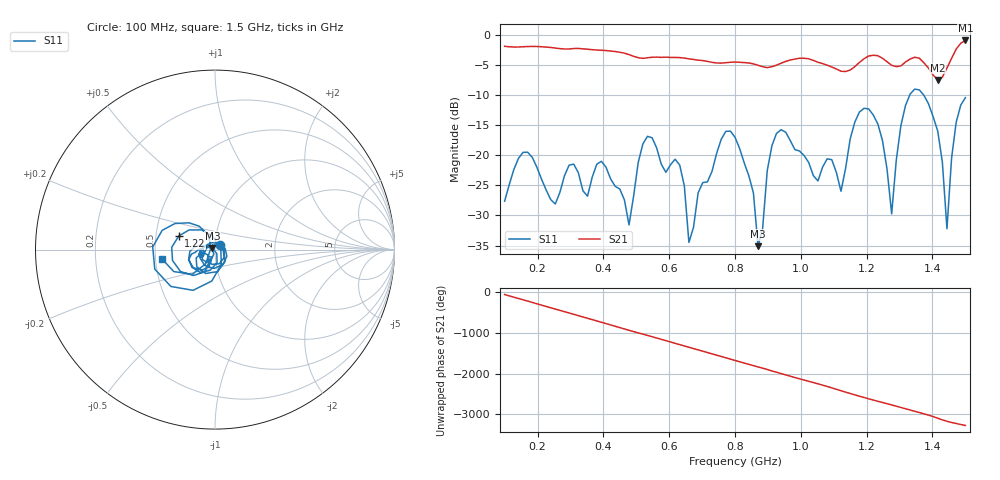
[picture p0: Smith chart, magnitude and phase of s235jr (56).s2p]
! NanoVNA-App
! Date: 2025-09-26 09:45:13
! Start: 100MHz Stop: 1,5GHz Points: 101
! S-Parameter data: F S11 S21 S12 S22
# Hz S RI R 50
!  Frequency  S11_Real  S11_Imag  S21_Real  S21_Imag  S12_Real  S12_Imag  S22_Real  S22_Imag
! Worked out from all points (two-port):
!   101 points, 100 MHz to 1.5 GHz, reference 50 ohm
!   highest |S21| = -0.98 dB at 1.5 GHz (marker M1); lowest = -7.5 dB at 1.416 GHz (marker M2)
!   |S21| within 3 dB of the highest: start of sweep to 654.3 MHz; 1.193 GHz to 1.249 GHz (56.09 MHz wide, 4.59 % of centre)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
!   lowest |S11| = -35.1 dB at 870 MHz (marker M3), VSWR 1.04, Z = 48.6 + j0.954 ohm
!   |S11| at or under -10 dB: start of sweep to 1.331 GHz; 1.373 GHz to end of sweep
!   S12 and S22 are empty: the file has one direction only
!   S11 on the Smith chart (normalised r, x): 100 MHz: 1.06, +0.06; 1.22 GHz: 0.66, +0.11; 1.5 GHz: 0.54, -0.06
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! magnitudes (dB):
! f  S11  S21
! 100 MHz  -27.7  -2.0
! 156 MHz  -19.5  -2.0
! 338 MHz  -25.9  -2.4
! 394 MHz  -21.0  -2.6
! 478 MHz  -31.6  -3.3
! 520 MHz  -18.2  -4.0
! 576 MHz  -21.5  -3.8
! 632 MHz  -21.6  -3.8
! 660 MHz  -34.5  -4.0
! 800 MHz  -17.0  -4.6
! 870 MHz  -35.1  -5.1
! 926 MHz  -16.4  -5.1
! 1.038 GHz  -23.4  -4.3
! 1.122 GHz  -26.0  -6.1
! 1.164 GHz  -14.5  -5.3
! 1.22 GHz  -13.3  -3.4
! 1.276 GHz  -29.7  -5.1
! 1.332 GHz  -9.9  -4.1
! 1.416 GHz  -16.0  -7.5
! 1.444 GHz  -32.2  -5.5
! 1.472 GHz  -14.6  -2.4
! 1.5 GHz  -10.5  -1.0
